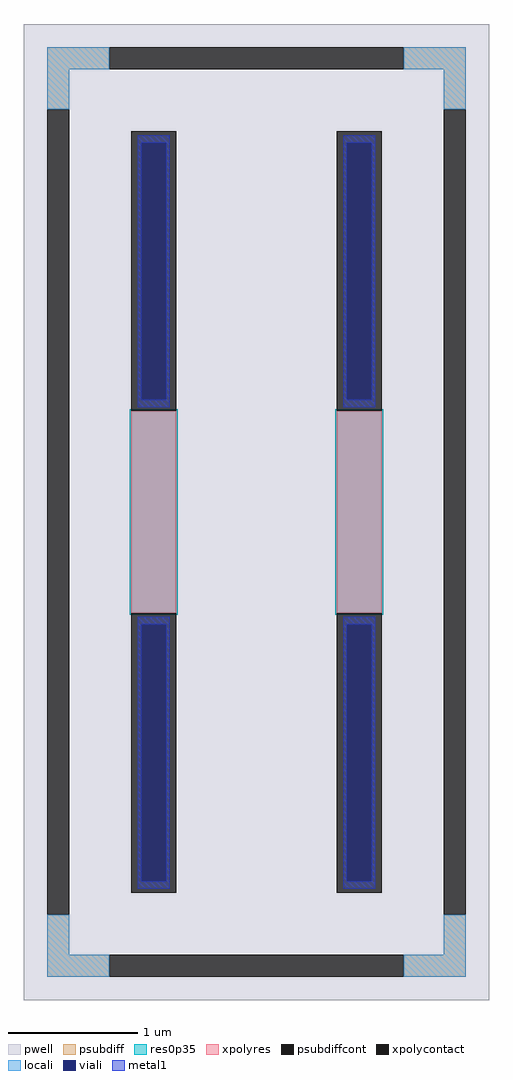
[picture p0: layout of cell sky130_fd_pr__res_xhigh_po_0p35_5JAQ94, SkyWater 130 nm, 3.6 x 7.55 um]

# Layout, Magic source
magic
tech sky130A
magscale 1 2
<< pwell >>
rect -360 -755 360 755
<< psubdiff >>
rect -324 685 -228 719
rect 228 685 324 719
rect -324 623 -290 685
rect 290 623 324 685
rect -324 -685 -290 -623
rect 290 -685 324 -623
rect -324 -719 -228 -685
rect 228 -719 324 -685
<< psubdiffcont >>
rect -228 685 228 719
rect -324 -623 -290 623
rect 290 -623 324 623
rect -228 -719 228 -685
<< xpolycontact >>
rect -194 157 -124 589
rect -194 -589 -124 -157
rect 124 157 194 589
rect 124 -589 194 -157
<< xpolyres >>
rect -194 -157 -124 157
rect 124 -157 194 157
<< locali >>
rect -324 685 -228 719
rect 228 685 324 719
rect -324 623 -290 685
rect 290 623 324 685
rect -324 -685 -290 -623
rect 290 -685 324 -623
rect -324 -719 -228 -685
rect 228 -719 324 -685
<< viali >>
rect -178 174 -140 571
rect 140 174 178 571
rect -178 -571 -140 -174
rect 140 -571 178 -174
<< metal1 >>
rect -184 571 -134 583
rect -184 174 -178 571
rect -140 174 -134 571
rect -184 162 -134 174
rect 134 571 184 583
rect 134 174 140 571
rect 178 174 184 571
rect 134 162 184 174
rect -184 -174 -134 -162
rect -184 -571 -178 -174
rect -140 -571 -134 -174
rect -184 -583 -134 -571
rect 134 -174 184 -162
rect 134 -571 140 -174
rect 178 -571 184 -174
rect 134 -583 184 -571
<< res0p35 >>
rect -196 -159 -122 159
rect 122 -159 196 159
<< properties >>
string FIXED_BBOX -307 -702 307 702
string gencell sky130_fd_pr__res_xhigh_po_0p35
string library sky130
string parameters w 0.350 l 1.57 m 1 nx 2 wmin 0.350 lmin 0.50 rho 2000 val 10.046k dummy 0 dw 0.0 term 188.2 sterm 0.0 caplen 0 wmax 0.350 guard 1 glc 1 grc 1 gtc 1 gbc 1 compatible {sky130_fd_pr__res_xhigh_po_0p35  sky130_fd_pr__res_xhigh_po_0p69 sky130_fd_pr__res_xhigh_po_1p41  sky130_fd_pr__res_xhigh_po_2p85 sky130_fd_pr__res_xhigh_po_5p73} full_metal 1 n_guard 0 hv_guard 0 vias 1 viagb 0 viagt 0 viagl 0 viagr 0
<< end >>
